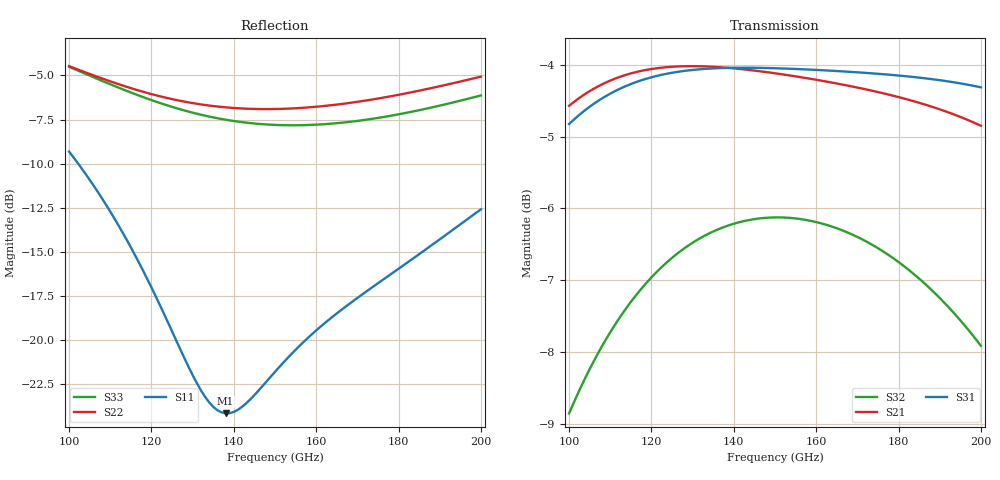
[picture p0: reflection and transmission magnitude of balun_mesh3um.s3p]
! Created with skrf 2.1.0 (http://scikit-rf.org).
# GHz S DB R 50.0
! Port[1] = P1
! Port[2] = P2
! Port[3] = P3
!freq dBS11 angS11 dBS12 angS12 dBS13 angS13
! dBS21 angS21 dBS22 angS22 dBS23 angS23
! dBS31 angS31 dBS32 angS32 dBS33 angS33
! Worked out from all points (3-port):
!   101 points, 100 GHz to 200 GHz, reference 50 ohm
!   strongest paths, dB at 100 GHz, 125 GHz, 150 GHz, 175 GHz, 200 GHz:
!     S31: -4.8, -4.1, -4.1, -4.1, -4.3
!     S21: -4.6, -4.0, -4.1, -4.4, -4.9
!     S32: -8.8, -6.7, -6.1, -6.6, -7.9
!   lowest |S11| = -24.1 dB at 138 GHz (marker M1), VSWR 1.13, Z = 44.3 + j1.4 ohm
!   |S11| at or under -10 dB: 102.2 GHz to end of sweep
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100  -9.31 131.0  -4.57 -14.0  -4.83 161.7
     -4.57 -14.0  -4.47 59.9  -8.85 90.1
     -4.83 161.7  -8.85 90.1  -4.51 48.9
110  -12.71 121.7  -4.22 -29.8  -4.40 144.8
     -4.22 -29.8  -5.33 50.9  -7.72 74.4
     -4.40 144.8  -7.72 74.4  -5.50 38.0
120  -17.01 119.8  -4.06 -44.6  -4.18 129.1
     -4.06 -44.6  -6.05 43.0  -6.96 59.5
     -4.18 129.1  -6.96 59.5  -6.39 28.5
132  -22.83 141.1  -4.02 -61.0  -4.06 111.5
     -4.02 -61.0  -6.64 34.5  -6.41 42.8
     -4.06 111.5  -6.41 42.8  -7.22 18.5
138  -24.13 165.4  -4.04 -68.7  -4.05 103.2
     -4.04 -68.7  -6.80 30.4  -6.25 34.9
     -4.05 103.2  -6.25 34.9  -7.50 13.9
142  -23.77 -179.2  -4.06 -73.8  -4.04 97.8
     -4.06 -73.8  -6.87 27.6  -6.18 29.8
     -4.04 97.8  -6.18 29.8  -7.64 10.9
150  -21.78 -160.1  -4.12 -83.6  -4.05 87.3
     -4.12 -83.6  -6.90 21.9  -6.12 19.7
     -4.05 87.3  -6.12 19.7  -7.80 4.9
162  -19.04 -148.9  -4.23 -98.0  -4.08 72.0
     -4.23 -98.0  -6.73 12.7  -6.22 5.2
     -4.08 72.0  -6.22 5.2  -7.76 -4.3
174  -16.93 -144.4  -4.37 -112.1  -4.12 56.9
     -4.37 -112.1  -6.35 2.7  -6.52 -9.0
     -4.12 56.9  -6.52 -9.0  -7.44 -14.0
200  -12.58 -144.5  -4.85 -143.3  -4.32 24.1
     -4.85 -143.3  -5.06 -21.6  -7.91 -39.5
     -4.32 24.1  -7.91 -39.5  -6.13 -37.3
